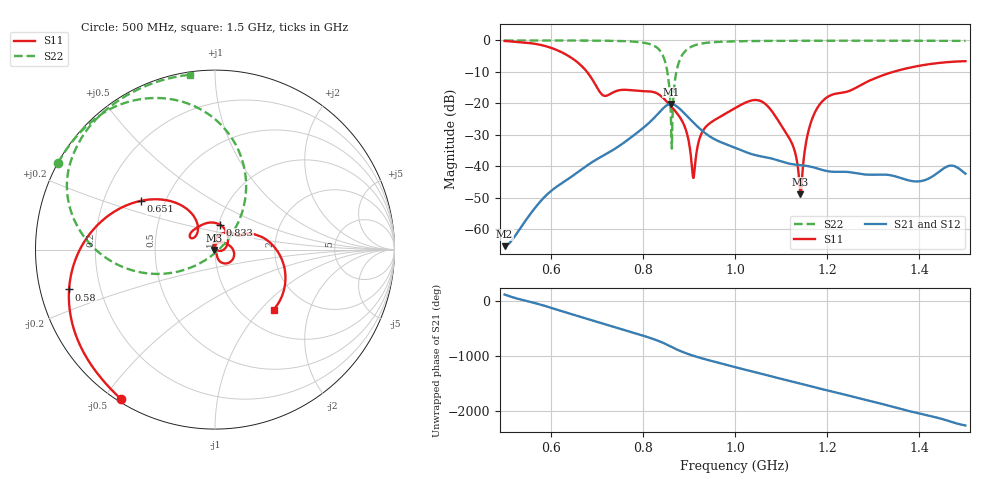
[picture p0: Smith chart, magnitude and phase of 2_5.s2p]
! TOUCHSTONE file generated by CST MICROWAVE STUDIO
! Date and time: Fri Oct  2 19:07:57 2020
! Project name: Scenario_1_Free_Space_out_of_line.cst
! Parameters = {Lambda=346.42; Step_1=17.321; dy1=330.299; dx1=866; L_HA=400; MT=2.54; Rad_Dielectric=30; Rad_Lower=7.3; Rad_Upper=30; a_HA=580; a_WG=246; b_HA=500; b_WG=121; c_HA=0; c_WG=187; d_feed=85; h_feed=15; h_lower=18; h_upper=40}
! Header version: 2018
! Port assignment regex: !\s*Touchstone port\s*([0-9]+)\s*=\s*(CST MWS port|CST DS port)\s*([0-9]+|Zmin|Zmax)\s*\(\"(.*)\"\)(\s*mode\s*([0-9]+))?.*
! Touchstone port assignment:
! Touchstone port 1 = CST MWS port 1 ("")
! Touchstone port 2 = CST MWS port 2 ("")
# GHz S DB R 50
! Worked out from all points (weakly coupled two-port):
!   1003 points, 500 MHz to 1.5 GHz, reference 50 ohm
!   highest |S21| = -20.21 dB at 861 MHz (marker M1); lowest = -65.5 dB at 500 MHz (marker M2)
!   lowest |S11| = -48.9 dB at 1.142 GHz (marker M3), VSWR 1.01, Z = 49.7 - j0.189 ohm
!   |S11| at or under -10 dB: 678.8 MHz to 1.343 GHz (664.7 MHz wide, 65.7 % of centre)
!   |S22| runs from -34.4 to 0.0 dB; largest |S21 - S12| = 0.00025
!   S11 on the Smith chart (normalised r, x): 500 MHz: 0.01, -0.55; 580 MHz: 0.09, -0.13; 651 MHz: 0.37, +0.26; 833 MHz: 1.02, +0.29; 1.5 GHz: 1.39, -1.18
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0.5  -0.15 -122.3  -65.46 118.5  -65.46 118.5  -0.01 151.2
0.58  -1.49 -164.7  -50.84 -69.3  -50.84 -69.3  -0.01 145.7
0.651  -6.14 146.5  -42.74 108.3  -42.74 108.3  -0.03 139.9
0.667  -8.11 135.3  -41.05 68.2  -41.05 68.2  -0.04 138.4
0.715  -17.56 139.8  -36.56 -53.3  -36.56 -53.3  -0.09 133.1
0.79  -16.05 128.0  -29.09 119.9  -29.09 119.9  -0.51 118.0
0.833  -17.03 78.5  -23.31 -0.6  -23.31 -0.6  -2.59 91.5
0.834  -17.12 76.9  -23.15 -3.8  -23.15 -3.8  -2.73 90.4
0.851  -19.32 50.0  -20.74 -65.5  -20.74 -65.5  -8.30 63.2
0.861  -20.93 35.9  -20.21 -106.9  -20.21 -106.9  -24.69 30.7
0.866  -21.76 29.2  -20.34 -127.7  -20.34 -127.7  -18.86 -137.8
0.879  -24.15 11.6  -21.61 -178.2  -21.61 -178.2  -6.61 -165.4
0.91  -43.76 42.7  -26.17 85.9  -26.17 85.9  -1.69 165.8
0.933  -28.16 70.8  -29.23 29.0  -29.23 29.0  -0.85 155.4
1  -21.54 15.8  -34.12 -118.9  -34.12 -118.9  -0.29 140.9
1.073  -21.25 -60.0  -37.35 86.4  -37.35 86.4  -0.15 132.6
1.124  -32.90 -71.3  -39.36 -20.8  -39.36 -20.8  -0.11 128.0
1.142  -48.93 -147.9  -39.69 -58.0  -39.69 -58.0  -0.11 126.5
1.167  -25.14 88.7  -40.26 -112.5  -40.26 -112.5  -0.10 124.5
1.202  -17.88 48.5  -41.62 175.7  -41.62 175.7  -0.09 121.8
1.334  -10.42 8.9  -42.81 -101.6  -42.81 -101.6  -0.09 111.7
1.5  -6.60 -45.6  -42.39 -98.5  -42.17 -98.0  -0.14 98.3
